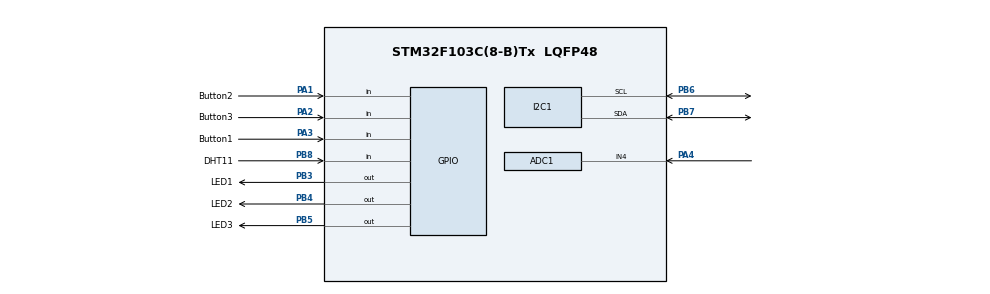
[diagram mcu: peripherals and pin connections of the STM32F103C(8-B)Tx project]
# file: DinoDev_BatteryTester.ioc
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ADC1.Channel-1\#ChannelRegularConversion=ADC_CHANNEL_VREFINT
ADC1.Channel-2\#ChannelRegularConversion=ADC_CHANNEL_4
ADC1.ContinuousConvMode=ENABLE
ADC1.NbrOfConversion=2
ADC1.NbrOfConversionFlag=1
ADC1.Rank-1\#ChannelRegularConversion=1
ADC1.Rank-2\#ChannelRegularConversion=2
ADC1.SamplingTime-1\#ChannelRegularConversion=ADC_SAMPLETIME_239CYCLES_5
ADC1.SamplingTime-2\#ChannelRegularConversion=ADC_SAMPLETIME_239CYCLES_5
ADC1.master=1
Dma.ADC1.0.Direction=DMA_PERIPH_TO_MEMORY
Dma.ADC1.0.Instance=DMA1_Channel1
Dma.ADC1.0.MemDataAlignment=DMA_MDATAALIGN_HALFWORD
Dma.ADC1.0.MemInc=DMA_MINC_ENABLE
Dma.ADC1.0.Mode=DMA_CIRCULAR
Dma.ADC1.0.PeriphDataAlignment=DMA_PDATAALIGN_HALFWORD
Dma.ADC1.0.PeriphInc=DMA_PINC_DISABLE
Dma.ADC1.0.Priority=DMA_PRIORITY_LOW
Dma.Request0=ADC1
Mcu.Family=STM32F1
Mcu.Name=STM32F103C(8-B)Tx
Mcu.Package=LQFP48
NVIC.DMA1_Channel1_IRQn=true\:0\:0\:false\:false\:true\:false\:true\:true
NVIC.PriorityGroup=NVIC_PRIORITYGROUP_4
PA1.GPIO_Label=Button2
PA1.GPIO_PuPd=GPIO_PULLUP
PA1.Signal=GPIO_Input
PA13.Mode=Serial_Wire
PA13.Signal=SYS_JTMS-SWDIO
PA14.Mode=Serial_Wire
PA14.Signal=SYS_JTCK-SWCLK
PA2.GPIO_Label=Button3
PA2.GPIO_PuPd=GPIO_PULLUP
PA2.Signal=GPIO_Input
PA3.GPIO_Label=Button1
PA3.GPIO_PuPd=GPIO_PULLUP
PA3.Signal=GPIO_Input
PA4.Signal=ADCx_IN4
PB3.GPIO_Label=LED1
PB3.PinState=GPIO_PIN_RESET
PB3.Signal=GPIO_Output
PB4.GPIO_Label=LED2
PB4.Signal=GPIO_Output
PB5.GPIO_Label=LED3
PB5.Signal=GPIO_Output
PB6.Mode=I2C
PB6.Signal=I2C1_SCL
PB7.Mode=I2C
PB7.Signal=I2C1_SDA
PB8.GPIO_Label=DHT11
PB8.Signal=GPIO_Input
PD0-OSC_IN.Mode=HSE-External-Oscillator
PD0-OSC_IN.Signal=RCC_OSC_IN
PD1-OSC_OUT.Mode=HSE-External-Oscillator
PD1-OSC_OUT.Signal=RCC_OSC_OUT
ProjectManager.HeapSize=0x200
ProjectManager.StackSize=0x400
ProjectManager.TargetToolchain=STM32CubeIDE
RCC.APB1Freq_Value=8000000
RCC.APB2Freq_Value=8000000
SH.ADCx_IN4.0=ADC1_IN4,IN4
VP_ADC1_Vref_Input.Mode=IN-Vrefint
board=custom

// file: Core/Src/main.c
/* USER CODE BEGIN Header */
/**
 ******************************************************************************
 * @file           : main.c
 * @brief          : Main program body
 ******************************************************************************
 * @attention
 *
 * Copyright (c) 2023 STMicroelectronics.
 * All rights reserved.
 *
 * This software is licensed under terms that can be found in the LICENSE file
 * in the root directory of this software component.
 * If no LICENSE file comes with this software, it is provided AS-IS.
 *
 ******************************************************************************
 */
/* USER CODE END Header */
#include "main.h"

/* USER CODE BEGIN Includes */
#include "ssd1306.h" //display library
#include "stdio.h"	 //for sprintf
/* USER CODE END Includes */

/* USER CODE BEGIN PD */
//defines for correct ADC calculations
#define ADC_REFERENCE_VOLTAGE                                           1.2
#define ADC_MAX                                                         0xFFF
/* USER CODE END PD */

ADC_HandleTypeDef hadc1;
DMA_HandleTypeDef hdma_adc1;

I2C_HandleTypeDef hi2c1;

void SystemClock_Config(void);
static void MX_GPIO_Init(void);
static void MX_DMA_Init(void);
static void MX_I2C1_Init(void);
static void MX_ADC1_Init(void);

int main(void)
{
	/* USER CODE BEGIN 1 */
	//variables to store data from ADC and converted into voltage data
	float mcuVoltage = 0;
	float batteryVoltage = 0;
	uint16_t adcData[2];
	/* USER CODE END 1 */

	/* MCU Configuration--------------------------------------------------------*/

	/* Reset of all peripherals, Initializes the Flash interface and the Systick. */
	HAL_Init();

	/* Configure the system clock */
	SystemClock_Config();

	/* Initialize all configured peripherals */
	MX_GPIO_Init();
	MX_DMA_Init();
	MX_I2C1_Init();
	MX_ADC1_Init();
	/* USER CODE BEGIN 2 */
	ssd1306_Init();
	//start ADC DMA conversion
	HAL_ADCEx_Calibration_Start(&hadc1);
	HAL_ADC_Start_DMA(&hadc1, (uint32_t*) adcData, 2);
	/* USER CODE END 2 */

	/* Infinite loop */
	/* USER CODE BEGIN WHILE */
	while (1)
	{
		mcuVoltage = ADC_MAX * ADC_REFERENCE_VOLTAGE / adcData[0];
		batteryVoltage = 2 * adcData[1] * mcuVoltage / ADC_MAX;
		char buf[16] =
		{ 0 };
		sprintf(buf, "%f", mcuVoltage);
		ssd1306_Fill(Black);
		ssd1306_SetCursor(0, 0);
		ssd1306_WriteString("MCU V =", Font_7x10, White);
		ssd1306_WriteString(buf, Font_7x10, White);
		sprintf(buf, "%f", batteryVoltage);
		ssd1306_SetCursor(0, 30);
		ssd1306_WriteString("Voltage =", Font_7x10, White);
		ssd1306_WriteString(buf, Font_7x10, White);
		ssd1306_UpdateScreen();
		HAL_Delay(250);  // wait for a while
		/* USER CODE END WHILE */

	}
}

void SystemClock_Config(void)
{
	RCC_OscInitTypeDef RCC_OscInitStruct =
	{ 0 };
	RCC_ClkInitTypeDef RCC_ClkInitStruct =
	{ 0 };
	RCC_PeriphCLKInitTypeDef PeriphClkInit =
	{ 0 };

	/** Initializes the RCC Oscillators according to the specified parameters
	 * in the RCC_OscInitTypeDef structure.
	 */
	RCC_OscInitStruct.OscillatorType = RCC_OSCILLATORTYPE_HSI;
	RCC_OscInitStruct.HSIState = RCC_HSI_ON;
	RCC_OscInitStruct.HSICalibrationValue = RCC_HSICALIBRATION_DEFAULT;
	RCC_OscInitStruct.PLL.PLLState = RCC_PLL_NONE;
	if (HAL_RCC_OscConfig(&RCC_OscInitStruct) != HAL_OK)
	{
		Error_Handler();
	}

	/** Initializes the CPU, AHB and APB buses clocks
	 */
	RCC_ClkInitStruct.ClockType = RCC_CLOCKTYPE_HCLK | RCC_CLOCKTYPE_SYSCLK
			| RCC_CLOCKTYPE_PCLK1 | RCC_CLOCKTYPE_PCLK2;
	RCC_ClkInitStruct.SYSCLKSource = RCC_SYSCLKSOURCE_HSI;
	RCC_ClkInitStruct.AHBCLKDivider = RCC_SYSCLK_DIV1;
	RCC_ClkInitStruct.APB1CLKDivider = RCC_HCLK_DIV1;
	RCC_ClkInitStruct.APB2CLKDivider = RCC_HCLK_DIV1;

	if (HAL_RCC_ClockConfig(&RCC_ClkInitStruct, FLASH_LATENCY_0) != HAL_OK)
	{
		Error_Handler();
	}
	PeriphClkInit.PeriphClockSelection = RCC_PERIPHCLK_ADC;
	PeriphClkInit.AdcClockSelection = RCC_ADCPCLK2_DIV2;
	if (HAL_RCCEx_PeriphCLKConfig(&PeriphClkInit) != HAL_OK)
	{
		Error_Handler();
	}
}

static void MX_ADC1_Init(void)
{

	ADC_ChannelConfTypeDef sConfig =
	{ 0 };

	/** Common config
	 */
	hadc1.Instance = ADC1;
	hadc1.Init.ScanConvMode = ADC_SCAN_ENABLE;
	hadc1.Init.ContinuousConvMode = ENABLE;
	hadc1.Init.DiscontinuousConvMode = DISABLE;
	hadc1.Init.ExternalTrigConv = ADC_SOFTWARE_START;
	hadc1.Init.DataAlign = ADC_DATAALIGN_RIGHT;
	hadc1.Init.NbrOfConversion = 2;
	if (HAL_ADC_Init(&hadc1) != HAL_OK)
	{
		Error_Handler();
	}

	/** Configure Regular Channel
	 */
	sConfig.Channel = ADC_CHANNEL_VREFINT;
	sConfig.Rank = ADC_REGULAR_RANK_1;
	sConfig.SamplingTime = ADC_SAMPLETIME_239CYCLES_5;
	if (HAL_ADC_ConfigChannel(&hadc1, &sConfig) != HAL_OK)
	{
		Error_Handler();
	}

	/** Configure Regular Channel
	 */
	sConfig.Channel = ADC_CHANNEL_4;
	sConfig.Rank = ADC_REGULAR_RANK_2;
	if (HAL_ADC_ConfigChannel(&hadc1, &sConfig) != HAL_OK)
	{
		Error_Handler();
	}

}

static void MX_I2C1_Init(void)
{

	hi2c1.Instance = I2C1;
	hi2c1.Init.ClockSpeed = 100000;
	hi2c1.Init.DutyCycle = I2C_DUTYCYCLE_2;
	hi2c1.Init.OwnAddress1 = 0;
	hi2c1.Init.AddressingMode = I2C_ADDRESSINGMODE_7BIT;
	hi2c1.Init.DualAddressMode = I2C_DUALADDRESS_DISABLE;
	hi2c1.Init.OwnAddress2 = 0;
	hi2c1.Init.GeneralCallMode = I2C_GENERALCALL_DISABLE;
	hi2c1.Init.NoStretchMode = I2C_NOSTRETCH_DISABLE;
	if (HAL_I2C_Init(&hi2c1) != HAL_OK)
	{
		Error_Handler();
	}

}

static void MX_DMA_Init(void)
{

	/* DMA controller clock enable */
	__HAL_RCC_DMA1_CLK_ENABLE();

	/* DMA interrupt init */
	/* DMA1_Channel1_IRQn interrupt configuration */
	HAL_NVIC_SetPriority(DMA1_Channel1_IRQn, 0, 0);
	HAL_NVIC_EnableIRQ(DMA1_Channel1_IRQn);

}

static void MX_GPIO_Init(void)
{
	GPIO_InitTypeDef GPIO_InitStruct =
	{ 0 };

	/* GPIO Ports Clock Enable */
	__HAL_RCC_GPIOD_CLK_ENABLE();
	__HAL_RCC_GPIOA_CLK_ENABLE();
	__HAL_RCC_GPIOB_CLK_ENABLE();

	/*Configure GPIO pin Output Level */
	HAL_GPIO_WritePin(GPIOB, LED1_Pin | LED2_Pin | LED3_Pin, GPIO_PIN_RESET);

	/*Configure GPIO pins : Button2_Pin Button3_Pin Button1_Pin */
	GPIO_InitStruct.Pin = Button2_Pin | Button3_Pin | Button1_Pin;
	GPIO_InitStruct.Mode = GPIO_MODE_INPUT;
	GPIO_InitStruct.Pull = GPIO_PULLUP;
	HAL_GPIO_Init(GPIOA, &GPIO_InitStruct);

	/*Configure GPIO pins : LED1_Pin LED2_Pin LED3_Pin */
	GPIO_InitStruct.Pin = LED1_Pin | LED2_Pin | LED3_Pin;
	GPIO_InitStruct.Mode = GPIO_MODE_OUTPUT_PP;
	GPIO_InitStruct.Pull = GPIO_NOPULL;
	GPIO_InitStruct.Speed = GPIO_SPEED_FREQ_LOW;
	HAL_GPIO_Init(GPIOB, &GPIO_InitStruct);

	/*Configure GPIO pin : DHT11_Pin */
	GPIO_InitStruct.Pin = DHT11_Pin;
	GPIO_InitStruct.Mode = GPIO_MODE_INPUT;
	GPIO_InitStruct.Pull = GPIO_NOPULL;
	HAL_GPIO_Init(DHT11_GPIO_Port, &GPIO_InitStruct);

}

void Error_Handler(void)
{
	__disable_irq();
	while (1)
	{
	}
}
